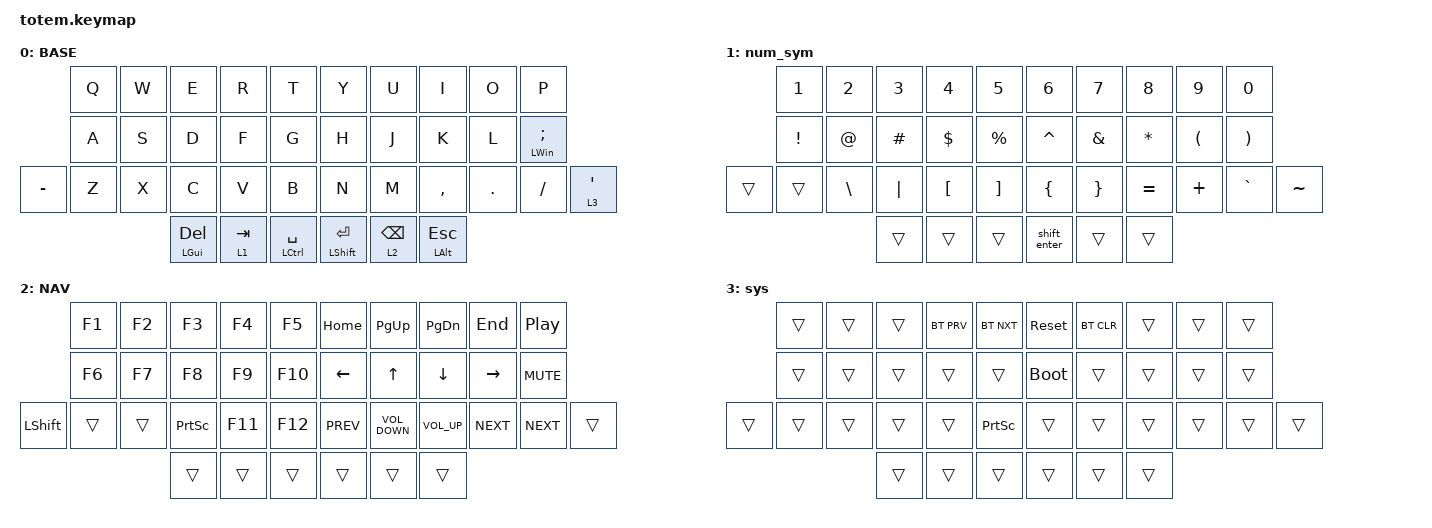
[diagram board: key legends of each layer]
//
//                                                        ▀▀▀▀▀     ▀▀▀▀▀          ▀▀█▀▀
//                                                        ▄▀▀▀▄  ▄  ▄▀▀▀▄  ▄  ▄▀▀▀▄  █  ▄▀▀▀▄
//                                                        █   █  █  █   █  █  █   █  █  █   █
//                                                         ▀▀▀   █   ▀▀▀   █   ▀▀▀   ▀   ▀▀▀
//                                                               █      ▄▄▄█▄▄▄    █   █  
//                                                               ▀      █  █  █     █▄█
//                                                             ▀▀▀▀▀    █  █  █      ▀
//                                                                      ▀  ▀  ▀
//
// ▄▄▄▄▄▄▄▄▄▄▄▄▄▄▄▄▄▄▄▄▄▄▄▄▄▄▄▄▄▄▄▄▄▄▄▄▄▄▄▄▄▄▄▄▄▄▄▄▄▄▄▄▄▄▄▄▄▄▄▄▄▄▄▄▄▄▄▄▄▄▄▄▄▄▄▄▄▄▄▄▄▄▄▄▄▄▄▄▄▄▄▄▄▄▄▄▄▄▄▄▄▄▄▄▄▄▄▄▄▄▄▄▄▄▄▄▄▄▄▄▄▄▄▄▄▄▄▄▄▄▄▄▄▄▄▄▄▄▄▄▄▄▄▄▄▄▄▄▄

#include <behaviors.dtsi>
#include <dt-bindings/zmk/bt.h>
#include <dt-bindings/zmk/keys.h>

#define BASE 0
#define NAV  1
#define SYM  2
#define ADJ  3

&mt {
    flavor = "balanced";
    quick-tap-ms = <150>;
    require-prior-idle-ms = <150>;
    tapping-term-ms = <250>;
};

/ {
    combos { compatible = "zmk,combos"; };

    behaviors {
        left_ht: left_ht {
            compatible = "zmk,behavior-hold-tap";
            label = "LEFT_HT";
            bindings = <&kp>, <&kp>;

            #binding-cells = <2>;
            tapping-term-ms = <280>;
            quick-tap-ms = <175>;
            require-prior-idle-ms = <150>;
            flavor = "balanced";
            hold-trigger-key-positions = <5 15 16 6 7 5 6 7 8 9 15 16 17 18 19 26 27 28 29 30 31 35 36 37 32 33 34>;
            hold-trigger-on-release;
        };

        right_ht: right_ht {
            compatible = "zmk,behavior-hold-tap";
            label = "RIGHT_HT";
            bindings = <&kp>, <&kp>;

            #binding-cells = <2>;
            tapping-term-ms = <280>;
            quick-tap-ms = <175>;
            require-prior-idle-ms = <150>;
            flavor = "balanced";
            hold-trigger-key-positions = <0 1 2 3 4 10 11 12 13 14 20 21 22 23 24 25 32 33 34 35 36 37>;
            hold-trigger-on-release;
        };
    };

    macros {
        shift_enter: shift_enter {
            compatible = "zmk,behavior-macro";
            #binding-cells = <0>;
            bindings =
                <&macro_press>,
                <&kp LSHIFT>,
                <&macro_tap>,
                <&kp ENTER>,
                <&macro_release>,
                <&kp LSHIFT>;

            label = "SHIFT_ENTER";
        };
    };

    keymap {
        compatible = "zmk,keymap";

        // ▄▄▄▄▄▄▄▄▄▄▄▄▄▄▄▄▄▄▄▄▄▄▄▄▄▄▄▄▄▄▄▄▄▄▄▄▄▄▄▄▄▄▄▄▄▄▄▄▄▄▄▄▄▄▄▄▄▄▄▄▄▄▄▄▄▄▄▄▄▄▄▄▄▄▄▄▄▄▄▄▄▄▄▄▄▄▄▄▄▄▄▄▄▄▄▄▄▄▄▄▄▄▄▄▄▄▄▄▄▄▄▄▄▄▄▄▄▄▄▄▄▄▄▄▄▄▄▄▄▄▄▄▄▄▄▄▄▄▄▄▄▄▄▄▄▄▄▄▄

        base {
            // ┏━━━━━━━━━━━━━━━━━━━━━━━━━━━━━━━━━━━━━━━┓

            label = "BASE";

            // ┗━━━━━━━━━━━━━━━━━━━━━━━━━━━━━━━━━━━━━━━┛
            //             ┏━━━━━━━━━━━┳━━━━━━━━━━━┳━━━━━━━━━━━┳━━━━━━━━━━━┳━━━━━━━━━━━┓   ┏━━━━━━━━━━━┳━━━━━━━━━━━┳━━━━━━━━━━━┳━━━━━━━━━━━┳━━━━━━━━━━━┓
            //             ┃     Q     ┃     W     ┃     F     ┃     P     ┃     G     ┃   ┃     J     ┃     L     ┃     U     ┃     Y     ┃     ;     ┃
            //             ┣━━━━━━━━━━━╋━━━━━━━━━━━╋━━━━━━━━━━━╋━━━━━━━━━━━╋━━━━━━━━━━━┫   ┣━━━━━━━━━━━╋━━━━━━━━━━━╋━━━━━━━━━━━╋━━━━━━━━━━━╋━━━━━━━━━━━┫
            //             ┃     A     ┃     R     ┃     S     ┃     T     ┃     D     ┃   ┃     H     ┃     N     ┃     E     ┃     I     ┃     O     ┃
            // ┏━━━━━━━━━━━╋━━━━━━━━━━━╋━━━━━━━━━━━╋━━━━━━━━━━━╋━━━━━━━━━━━╋━━━━━━━━━━━┫   ┣━━━━━━━━━━━╋━━━━━━━━━━━╋━━━━━━━━━━━╋━━━━━━━━━━━╋━━━━━━━━━━━╋━━━━━━━━━━━┓
            // ┃           ┃     Z     ┃     X     ┃     C     ┃     V     ┃     B     ┃   ┃     K     ┃     M     ┃     ,     ┃     .     ┃     /     ┃           ┃
            // ┗━━━━━━━━━━━┻━━━━━━━━━━━┻━━━━━━━━━━━╋━━━━━━━━━━━╋━━━━━━━━━━━╋━━━━━━━━━━━┫   ┣━━━━━━━━━━━╋━━━━━━━━━━━╋━━━━━━━━━━━╋━━━━━━━━━━━┻━━━━━━━━━━━┻━━━━━━━━━━━┛
            //                                     ┃           ┃    TAB    ┃    SPC    ┃   ┃   ENTER   ┃   BSPC    ┃           ┃
            //                                     ┗━━━━━━━━━━━┻━━━━━━━━━━━┻━━━━━━━━━━━┛   ┗━━━━━━━━━━━┻━━━━━━━━━━━┻━━━━━━━━━━━┛

            bindings = <
           &kp Q  &kp W  &kp E            &kp R      &kp T              &kp Y             &kp U            &kp I            &kp O    &kp P
           &kp A  &kp S  &kp D            &kp F      &kp G              &kp H             &kp J            &kp K            &kp L    &right_ht LWIN SEMICOLON
&kp MINUS  &kp Z  &kp X  &kp C            &kp V      &kp B              &kp N             &kp M            &kp COMMA        &kp DOT  &kp FSLH                  &lt 3 SINGLE_QUOTE
                         &mt LGUI DELETE  &lt 1 TAB  &mt LCTRL SPACE    &mt LSHIFT ENTER  &lt 2 BACKSPACE  &mt LALT ESCAPE
            >;
        };

        // ▄▄▄▄▄▄▄▄▄▄▄▄▄▄▄▄▄▄▄▄▄▄▄▄▄▄▄▄▄▄▄▄▄▄▄▄▄▄▄▄▄▄▄▄▄▄▄▄▄▄▄▄▄▄▄▄▄▄▄▄▄▄▄▄▄▄▄▄▄▄▄▄▄▄▄▄▄▄▄▄▄▄▄▄▄▄▄▄▄▄▄▄▄▄▄▄▄▄▄▄▄▄▄▄▄▄▄▄▄▄▄▄▄▄▄▄▄▄▄▄▄▄▄▄▄▄▄▄▄▄▄▄▄▄▄▄▄▄▄▄▄▄▄▄▄▄▄▄▄

        num_sym {
            // ┏━━━━━━━━━━━━━━━━━━━━━━━━━━━━━━━━━━━━━━━┓

            label = "num_sym";

            // ┗━━━━━━━━━━━━━━━━━━━━━━━━━━━━━━━━━━━━━━━┛
            //             ┏━━━━━━━━━━━┳━━━━━━━━━━━┳━━━━━━━━━━━┳━━━━━━━━━━━┳━━━━━━━━━━━┓   ┏━━━━━━━━━━━┳━━━━━━━━━━━┳━━━━━━━━━━━┳━━━━━━━━━━━┳━━━━━━━━━━━┓
            //             ┃           ┃           ┃     UP    ┃           ┃     {     ┃   ┃     }     ┃     7     ┃     8     ┃     9     ┃     +     ┃
            //             ┣━━━━━━━━━━━╋━━━━━━━━━━━╋━━━━━━━━━━━╋━━━━━━━━━━━╋━━━━━━━━━━━┫   ┣━━━━━━━━━━━╋━━━━━━━━━━━╋━━━━━━━━━━━╋━━━━━━━━━━━╋━━━━━━━━━━━┫
            //             ┃   SHIFT   ┃   LEFT    ┃    DOWN   ┃   RIGHT   ┃     [     ┃   ┃     ]     ┃     4     ┃     5     ┃     6     ┃     -     ┃
            // ┏━━━━━━━━━━━╋━━━━━━━━━━━╋━━━━━━━━━━━╋━━━━━━━━━━━╋━━━━━━━━━━━╋━━━━━━━━━━━┫   ┣━━━━━━━━━━━╋━━━━━━━━━━━╋━━━━━━━━━━━╋━━━━━━━━━━━╋━━━━━━━━━━━╋━━━━━━━━━━━┓
            // ┃           ┃           ┃   P UP    ┃  C LOCK   ┃  P DOWN   ┃     (     ┃   ┃     )     ┃     1     ┃     2     ┃     3     ┃     *     ┃           ┃
            // ┗━━━━━━━━━━━┻━━━━━━━━━━━┻━━━━━━━━━━━╋━━━━━━━━━━━╋━━━━━━━━━━━╋━━━━━━━━━━━┫   ┣━━━━━━━━━━━╋━━━━━━━━━━━╋━━━━━━━━━━━╋━━━━━━━━━━━┻━━━━━━━━━━━┻━━━━━━━━━━━┛
            //                                     ┃           ┃    TAB    ┃    SPC    ┃   ┃    DEL    ┃     0     ┃           ┃
            //                                     ┗━━━━━━━━━━━┻━━━━━━━━━━━┻━━━━━━━━━━━┛   ┗━━━━━━━━━━━┻━━━━━━━━━━━┻━━━━━━━━━━━┛

            bindings = <
        &kp NUMBER_1  &kp NUMBER_2   &kp NUMBER_3  &kp NUMBER_4      &kp N5               &kp NUMBER_6    &kp N7           &kp N8     &kp N9    &kp N0
        &kp EXCL      &kp AT         &kp HASH      &kp DLLR          &kp PRCNT            &kp CARET       &kp AMPS         &kp STAR   &kp LPAR  &kp RPAR
&trans  &trans        &kp BACKSLASH  &kp PIPE      &kp LEFT_BRACKET  &kp RIGHT_BRACKET    &kp LEFT_BRACE  &kp RIGHT_BRACE  &kp EQUAL  &kp PLUS  &kp GRAVE  &kp TILDE
                                     &trans        &trans            &trans               &shift_enter    &trans           &trans
            >;
        };

        // ▄▄▄▄▄▄▄▄▄▄▄▄▄▄▄▄▄▄▄▄▄▄▄▄▄▄▄▄▄▄▄▄▄▄▄▄▄▄▄▄▄▄▄▄▄▄▄▄▄▄▄▄▄▄▄▄▄▄▄▄▄▄▄▄▄▄▄▄▄▄▄▄▄▄▄▄▄▄▄▄▄▄▄▄▄▄▄▄▄▄▄▄▄▄▄▄▄▄▄▄▄▄▄▄▄▄▄▄▄▄▄▄▄▄▄▄▄▄▄▄▄▄▄▄▄▄▄▄▄▄▄▄▄▄▄▄▄▄▄▄▄▄▄▄▄▄▄▄▄

        nav {
            // ┏━━━━━━━━━━━━━━━━━━━━━━━━━━━━━━━━━━━━━━━┓

            label = "NAV";

            // ┗━━━━━━━━━━━━━━━━━━━━━━━━━━━━━━━━━━━━━━━┛
            //             ┏━━━━━━━━━━━┳━━━━━━━━━━━┳━━━━━━━━━━━┳━━━━━━━━━━━┳━━━━━━━━━━━┓   ┏━━━━━━━━━━━┳━━━━━━━━━━━┳━━━━━━━━━━━┳━━━━━━━━━━━┳━━━━━━━━━━━┓
            //             ┃     !     ┃     @     ┃     #     ┃     $     ┃     %     ┃   ┃     ˆ     ┃     &     ┃     Ü     ┃     '     ┃     "     ┃
            //             ┣━━━━━━━━━━━╋━━━━━━━━━━━╋━━━━━━━━━━━╋━━━━━━━━━━━╋━━━━━━━━━━━┫   ┣━━━━━━━━━━━╋━━━━━━━━━━━╋━━━━━━━━━━━╋━━━━━━━━━━━╋━━━━━━━━━━━┫
            //             ┃     Ä     ┃           ┃    SZ     ┃           ┃           ┃   ┃   MUTE    ┃   YEN     ┃   EURO    ┃  POUND    ┃     Ö     ┃
            // ┏━━━━━━━━━━━╋━━━━━━━━━━━╋━━━━━━━━━━━╋━━━━━━━━━━━╋━━━━━━━━━━━╋━━━━━━━━━━━┫   ┣━━━━━━━━━━━╋━━━━━━━━━━━╋━━━━━━━━━━━╋━━━━━━━━━━━╋━━━━━━━━━━━╋━━━━━━━━━━━┓
            // ┃           ┃  EMAIL1   ┃  EMAIL2   ┃           ┃           ┃           ┃   ┃   VOL-    ┃   VOL+    ┃   LAST    ┃   NEXT    ┃     \     ┃           ┃
            // ┗━━━━━━━━━━━┻━━━━━━━━━━━┻━━━━━━━━━━━╋━━━━━━━━━━━╋━━━━━━━━━━━╋━━━━━━━━━━━┫   ┣━━━━━━━━━━━╋━━━━━━━━━━━╋━━━━━━━━━━━╋━━━━━━━━━━━┻━━━━━━━━━━━┻━━━━━━━━━━━┛
            //                                     ┃           ┃    GIF    ┃    ADJ    ┃   ┃           ┃           ┃           ┃
            //                                     ┗━━━━━━━━━━━┻━━━━━━━━━━━┻━━━━━━━━━━━┛   ┗━━━━━━━━━━━┻━━━━━━━━━━━┻━━━━━━━━━━━┛

            bindings = <
                &kp F1  &kp F2  &kp F3           &kp F4   &kp F5     &kp HOME        &kp PG_UP          &kp PG_DN       &kp END     &kp C_PLAY_PAUSE
                &kp F6  &kp F7  &kp F8           &kp F9   &kp F10    &kp LEFT_ARROW  &kp UP_ARROW       &kp DOWN_ARROW  &kp RIGHT   &kp C_MUTE
&kp LEFT_SHIFT  &trans  &trans  &kp PRINTSCREEN  &kp F11  &kp F12    &kp C_PREV      &kp C_VOLUME_DOWN  &kp C_VOL_UP    &kp C_NEXT  &kp C_NEXT        &trans
                                &trans           &trans   &trans     &trans          &trans             &trans
            >;
        };

        sys {
            bindings = <
        &trans  &trans  &trans  &bt BT_PRV  &bt BT_NXT         &sys_reset   &bt BT_CLR  &trans  &trans  &trans
        &trans  &trans  &trans  &trans      &trans             &bootloader  &trans      &trans  &trans  &trans
&trans  &trans  &trans  &trans  &trans      &kp PRINTSCREEN    &trans       &trans      &trans  &trans  &trans  &trans
                        &trans  &trans      &trans             &trans       &trans      &trans
            >;
        };

        // ▄▄▄▄▄▄▄▄▄▄▄▄▄▄▄▄▄▄▄▄▄▄▄▄▄▄▄▄▄▄▄▄▄▄▄▄▄▄▄▄▄▄▄▄▄▄▄▄▄▄▄▄▄▄▄▄▄▄▄▄▄▄▄▄▄▄▄▄▄▄▄▄▄▄▄▄▄▄▄▄▄▄▄▄▄▄▄▄▄▄▄▄▄▄▄▄▄▄▄▄▄▄▄▄▄▄▄▄▄▄▄▄▄▄▄▄▄▄▄▄▄▄▄▄▄▄▄▄▄▄▄▄▄▄▄▄▄▄▄▄▄▄▄▄▄▄▄▄▄
    };
};
